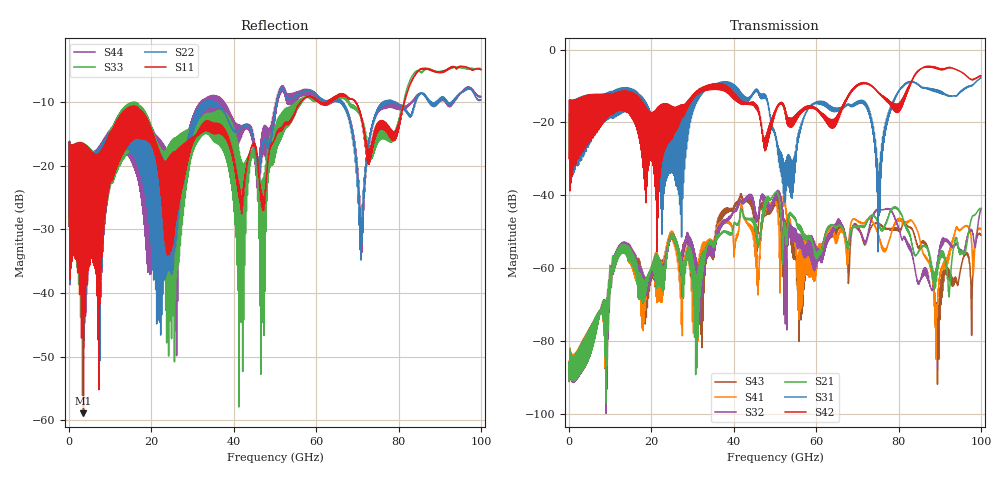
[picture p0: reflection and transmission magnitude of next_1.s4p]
# Hz S RI R 50
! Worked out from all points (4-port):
!   10000 points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, 10 MHz to 100 GHz, reference 50 ohm
!   strongest paths, dB at 10 MHz, 25.01 GHz, 50.01 GHz, 75.01 GHz, 100 GHz:
!     S42: -29.9, -15.8, -16.8, -11.6, -7.2
!     S31: -29.9, -26.4, -23.1, -42.2, -7.7
!     S21: -91.1, -50.6, -39.3, -47.6, -43.8
!     S32: -91.2, -51.3, -39.8, -43.9, -43.8
!     S41: -90.8, -49.9, -41.4, -50.5, -49.4
!     S43: -90.9, -50.4, -40.6, -47.6, -51.0
!   lowest |S11| = -58.9 dB at 3.5 GHz (marker M1), VSWR 1.00, Z = 49.9 + j0.0637 ohm
!   |S11| at or under -10 dB: start of sweep to 56.22 GHz; 61.11 GHz to 62.71 GHz (1.598 GHz wide, 2.58 % of centre); 69.55 GHz to 81.5 GHz (11.95 GHz wide, 15.8 % of centre)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
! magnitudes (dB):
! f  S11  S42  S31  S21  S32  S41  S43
! 10 MHz  -29.5  -29.9  -29.9  -91.1  -91.2  -90.8  -90.9
! 3.5 GHz  -58.9  -26.1  -22.3  -80.1  -80.4  -79.8  -80.2
! 41.63 GHz  -25.6  -14.8  -12.0  -44.3  -41.3  -43.9  -39.6
! 71.55 GHz  -14.3  -9.2  -14.1  -48.5  -52.2  -47.8  -53.2
! 75.16 GHz  -14.1  -11.8  -34.4  -48.0  -43.9  -51.4  -47.8
! 89.39 GHz  -5.3  -5.0  -11.1  -60.7  -58.4  -72.0  -76.0
! 100 GHz  -4.9  -7.2  -7.7  -43.8  -43.8  -49.4  -51.0
